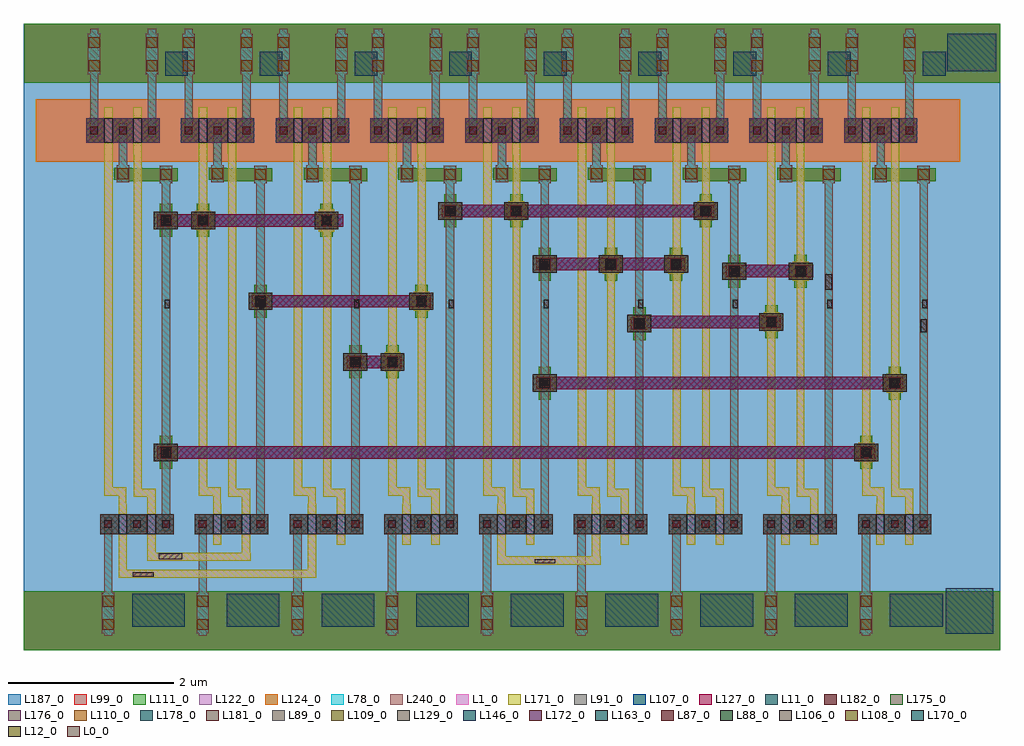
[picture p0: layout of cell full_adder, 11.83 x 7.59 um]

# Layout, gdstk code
import gdstk
lib = gdstk.Library(unit=1e-6, precision=1e-09)
def R(c, l, rs):  # rectangles x0, y0, x1, y1
    for r in rs: c.add(gdstk.rectangle(r[:2], r[2:], *l))
def A(c, l, x, y, w, h, nx, ny, dx, dy):  # array of equal rectangles
    R(c, l, [(x+i*dx, y+j*dy, x+i*dx+w, y+j*dy+h) for i in range(nx) for j in range(ny)])
def P(c, l, *ps):  # polygons
    for p in ps: c.add(gdstk.Polygon(p, *l))
L0_0 = (0, 0)
L1_0 = (1, 0)
L11_0 = (11, 0)
L12_0 = (12, 0)
L78_0 = (78, 0)
L87_0 = (87, 0)
L88_0 = (88, 0)
L89_0 = (89, 0)
L91_0 = (91, 0)
L99_0 = (99, 0)
L106_0 = (106, 0)
L107_0 = (107, 0)
L108_0 = (108, 0)
L109_0 = (109, 0)
L110_0 = (110, 0)
L111_0 = (111, 0)
L122_0 = (122, 0)
L124_0 = (124, 0)
L127_0 = (127, 0)
L129_0 = (129, 0)
L146_0 = (146, 0)
L163_0 = (163, 0)
L170_0 = (170, 0)
L171_0 = (171, 0)
L172_0 = (172, 0)
L175_0 = (175, 0)
L176_0 = (176, 0)
L178_0 = (178, 0)
L181_0 = (181, 0)
L182_0 = (182, 0)
L187_0 = (187, 0)
L240_0 = (240, 0)

nand2_2 = lib.new_cell('NAND2_2')
P(nand2_2, L1_0, [(-9.545,11.705),(-9.545,7.085),(-9.375,7.085),(-9.375,6.405),(-9.475,6.405),(-9.475,6.985),(-9.64,6.985),(-9.64,11.145),(-9.645,11.145),(-9.645,11.705)],
  [(-9.895,11.705),(-9.895,7.1),(-9.73,7.1),(-9.73,6.905),(-9.725,6.905),(-9.725,6.405),(-9.825,6.405),(-9.825,6.905),(-9.82,6.905),(-9.82,7),(-9.995,7),(-9.995,11.705)])
R(nand2_2, L11_0, [(-9.66,5.41,-9.02,5.81), (-9.26,12.09,-8.985,12.38)])
R(nand2_2, L12_0, [(-9.265,9.27,-9.205,9.375)])
R(nand2_2, L78_0, [(-9.68,6.565,-9.48,6.765)])
P(nand2_2, L78_0, [(-9.175,10.995),(-9.175,10.785),(-9.2,10.785),(-9.2,6.57),(-9.3,6.57),(-9.3,10.785),(-9.325,10.785),(-9.325,10.995)],
  [(-9.9,6.74),(-9.9,5.825),(-9.875,5.825),(-9.875,5.335),(-9.9,5.335),(-9.9,5.305),(-10,5.305),(-10,5.335),(-10.025,5.335),(-10.025,5.825),(-10,5.825),(-10,6.74)],
  [(-10.07,12.66),(-10.07,12.595),(-10.045,12.595),(-10.045,12.105),(-10.07,12.105),(-10.07,11.34),(-10.17,11.34),(-10.17,12.105),(-10.195,12.105),(-10.195,12.595),(-10.17,12.595),(-10.17,12.66)],
  [(-9.37,12.66),(-9.37,12.595),(-9.345,12.595),(-9.345,12.105),(-9.37,12.105),(-9.37,11.34),(-9.47,11.34),(-9.47,12.105),(-9.495,12.105),(-9.495,12.595),(-9.47,12.595),(-9.47,12.66)],
  [(-9.72,11.51),(-9.72,11.005),(-9.695,11.005),(-9.695,10.795),(-9.845,10.795),(-9.845,11.005),(-9.82,11.005),(-9.82,11.51)])
R(nand2_2, L99_0, [(-10.97,5.125,-8.33,5.845), (-10.965,12,-8.325,12.72)])
P(nand2_2, L99_0, [(-9.665,10.975),(-9.665,10.97),(-9.105,10.97),(-9.105,10.81),(-9.825,10.81),(-9.825,10.825),(-9.875,10.825),(-9.875,10.975)])
R(nand2_2, L110_0, [(-10.015,5.375,-9.885,5.505), (-10.015,5.655,-9.885,5.785), (-9.315,10.825,-9.185,10.955), (-9.835,10.835,-9.705,10.965), (-10.185,12.145,-10.055,12.275), (-9.485,12.145,-9.355,12.275), (-10.185,12.425,-10.055,12.555), (-9.485,12.425,-9.355,12.555)])
R(nand2_2, L111_0, [(-10.97,5.125,-8.33,5.845), (-10.965,12,-8.325,12.72)])
P(nand2_2, L111_0, [(-9.665,10.975),(-9.665,10.97),(-9.105,10.97),(-9.105,10.81),(-9.825,10.81),(-9.825,10.825),(-9.875,10.825),(-9.875,10.975)])
R(nand2_2, L122_0, [(-10.83,11.045,-8.805,11.805)])
R(nand2_2, L124_0, [(-10.83,11.045,-8.805,11.805)])
R(nand2_2, L146_0, [(-9.995,11.275,-9.895,11.575), (-9.645,11.275,-9.545,11.575)])
R(nand2_2, L163_0, [(-9.825,6.535,-9.725,6.775), (-9.475,6.535,-9.375,6.775)])
R(nand2_2, L171_0, [(-9.825,6.405,-9.725,6.535), (-9.475,6.405,-9.375,6.535), (-9.995,11.575,-9.895,11.705), (-9.645,11.575,-9.545,11.705)])
P(nand2_2, L171_0, [(-9.545,11.275),(-9.545,7.085),(-9.375,7.085),(-9.375,6.775),(-9.475,6.775),(-9.475,6.985),(-9.64,6.985),(-9.64,11.145),(-9.645,11.145),(-9.645,11.275)],
  [(-9.895,11.275),(-9.895,7.1),(-9.73,7.1),(-9.73,6.905),(-9.725,6.905),(-9.725,6.775),(-9.825,6.775),(-9.825,6.905),(-9.82,6.905),(-9.82,7),(-9.995,7),(-9.995,11.275)])
A(nand2_2, L172_0, -9.995, 6.61, 0.09, 0.09, 3, 1, 0.35, 0)
A(nand2_2, L172_0, -10.165, 11.38, 0.09, 0.09, 3, 1, 0.35, 0)
R(nand2_2, L175_0, [(-10.215,11.275,-9.995,11.575), (-9.895,11.275,-9.645,11.575), (-9.545,11.275,-9.325,11.575)])
R(nand2_2, L176_0, [(-10.215,11.275,-9.995,11.575), (-9.895,11.275,-9.645,11.575), (-9.545,11.275,-9.325,11.575)])
R(nand2_2, L178_0, [(-10.045,6.535,-9.825,6.775), (-9.725,6.535,-9.475,6.775), (-9.375,6.535,-9.155,6.775)])
R(nand2_2, L181_0, [(-10.045,6.535,-9.825,6.775), (-9.725,6.535,-9.475,6.775), (-9.375,6.535,-9.155,6.775)])
R(nand2_2, L182_0, [(-10.045,6.535,-9.825,6.775), (-9.725,6.535,-9.475,6.775), (-9.375,6.535,-9.155,6.775), (-10.215,11.275,-9.995,11.575), (-9.895,11.275,-9.645,11.575), (-9.545,11.275,-9.325,11.575)])
R(nand2_2, L187_0, [(-10.97,5.125,-8.325,12.72)])
R(nand2_2, L240_0, [(-9.68,6.565,-9.48,6.765)])
P(nand2_2, L240_0, [(-9.175,10.995),(-9.175,10.785),(-9.2,10.785),(-9.2,6.57),(-9.3,6.57),(-9.3,10.785),(-9.325,10.785),(-9.325,10.995)],
  [(-9.9,6.74),(-9.9,5.825),(-9.875,5.825),(-9.875,5.335),(-9.9,5.335),(-9.9,5.305),(-10,5.305),(-10,5.335),(-10.025,5.335),(-10.025,5.825),(-10,5.825),(-10,6.74)],
  [(-10.07,12.66),(-10.07,12.595),(-10.045,12.595),(-10.045,12.105),(-10.07,12.105),(-10.07,11.34),(-10.17,11.34),(-10.17,12.105),(-10.195,12.105),(-10.195,12.595),(-10.17,12.595),(-10.17,12.66)],
  [(-9.37,12.66),(-9.37,12.595),(-9.345,12.595),(-9.345,12.105),(-9.37,12.105),(-9.37,11.34),(-9.47,11.34),(-9.47,12.105),(-9.495,12.105),(-9.495,12.595),(-9.47,12.595),(-9.47,12.66)],
  [(-9.72,11.51),(-9.72,11.005),(-9.695,11.005),(-9.695,10.795),(-9.845,10.795),(-9.845,11.005),(-9.82,11.005),(-9.82,11.51)])

full_adder = lib.new_cell('full_adder')
R(full_adder, L0_0, [(3.08,20.535,3.335,20.585), (7.95,20.695,8.195,20.745), (3.39,20.745,3.675,20.82)])
P(full_adder, L1_0, [(6.275,25.555),(6.275,23.25),(6.32,23.25),(6.32,23.02),(6.275,23.02),(6.275,21.515),(6.175,21.515),(6.175,23.02),(6.13,23.02),(6.13,23.25),(6.175,23.25),(6.175,25.555)],
  [(4.025,24.965),(4.025,24.735),(3.98,24.735),(3.98,24.72),(3.88,24.72),(3.88,24.735),(3.835,24.735),(3.835,24.965)],
  [(5.52,24.985),(5.52,24.715),(5.475,24.715),(5.475,24.655),(5.38,24.655),(5.38,24.715),(5.33,24.715),(5.33,24.985)],
  [(7.82,25.08),(7.82,24.85),(7.775,24.85),(7.775,24.82),(7.68,24.82),(7.68,24.85),(7.63,24.85),(7.63,25.08)],
  [(10.115,25.08),(10.115,24.85),(10.07,24.85),(10.07,24.805),(9.975,24.805),(9.975,24.85),(9.925,24.85),(9.925,25.08)],
  [(6.625,24.015),(6.625,23.985),(6.67,23.985),(6.67,23.755),(6.625,23.755),(6.625,23.695),(6.53,23.695),(6.53,23.755),(6.48,23.755),(6.48,23.985),(6.53,23.985),(6.53,24.015)],
  [(8.92,24.495),(8.92,24.435),(8.965,24.435),(8.965,24.205),(8.92,24.205),(8.92,24.115),(8.825,24.115),(8.825,24.205),(8.775,24.205),(8.775,24.435),(8.825,24.435),(8.825,24.495)],
  [(12.365,23.055),(12.365,22.995),(12.405,22.995),(12.405,22.765),(12.215,22.765),(12.215,22.995),(12.27,22.995),(12.27,23.055)],
  [(9.72,24.515),(9.72,24.435),(9.755,24.435),(9.755,24.205),(9.72,24.205),(9.72,24.135),(9.62,24.135),(9.62,24.205),(9.565,24.205),(9.565,24.435),(9.62,24.435),(9.62,24.515)],
  [(10.865,23.75),(10.865,23.735),(10.91,23.735),(10.91,23.505),(10.865,23.505),(10.865,23.46),(10.765,23.46),(10.765,23.505),(10.72,23.505),(10.72,23.735),(10.765,23.735),(10.765,23.75)],
  [(12.015,22.16),(12.015,22.155),(12.06,22.155),(12.06,21.925),(11.87,21.925),(11.87,22.155),(11.915,22.155),(11.915,22.16)],
  [(4.5,20.94),(4.5,20.825),(4.505,20.825),(4.505,20.725),(3.255,20.725),(3.255,20.94),(3.355,20.94),(3.355,20.825),(4.4,20.825),(4.4,20.94)],
  [(3.005,21.33),(3.005,20.62),(5.2,20.62),(5.2,21),(5.3,21),(5.3,20.52),(2.905,20.52),(2.905,21.33)],
  [(8.74,21),(8.74,20.78),(8.745,20.78),(8.745,20.68),(7.495,20.68),(7.495,21),(7.595,21),(7.595,20.78),(8.64,20.78),(8.64,21)],
  [(11.215,24.39),(11.215,24.35),(11.265,24.35),(11.265,24.12),(11.215,24.12),(11.215,24.03),(11.125,24.03),(11.125,24.12),(11.075,24.12),(11.075,24.35),(11.125,24.35),(11.125,24.39)])
R(full_adder, L11_0, [(12.925,19.845,13.505,20.395), (12.945,26.655,13.54,27.11)])
R(full_adder, L12_0, [(12.625,23.495,12.7,23.65), (11.47,24.01,11.55,24.195)])
R(full_adder, L78_0, [(11.46,21.5,11.56,25.215), (12.61,21.5,12.71,25.215)])
P(full_adder, L78_0, [(3.53,25.215),(3.53,24.955),(3.555,24.955),(3.555,24.745),(3.53,24.745),(3.53,22.145),(3.555,22.145),(3.555,21.935),(3.53,21.935),(3.53,21.5),(3.43,21.5),(3.43,21.935),(3.405,21.935),(3.405,22.145),(3.43,22.145),(3.43,24.745),(3.405,24.745),(3.405,24.955),(3.43,24.955),(3.43,25.215)],
  [(4.675,25.215),(4.675,23.975),(4.7,23.975),(4.7,23.765),(4.675,23.765),(4.675,21.5),(4.575,21.5),(4.575,23.765),(4.55,23.765),(4.55,23.975),(4.575,23.975),(4.575,25.215)],
  [(5.825,25.215),(5.825,23.24),(5.85,23.24),(5.85,23.03),(5.825,23.03),(5.825,21.5),(5.725,21.5),(5.725,23.03),(5.7,23.03),(5.7,23.24),(5.725,23.24),(5.725,25.215)],
  [(6.97,25.215),(6.97,25.07),(7,25.07),(7,24.86),(6.97,24.86),(6.97,21.5),(6.87,21.5),(6.87,24.86),(6.85,24.86),(6.85,25.07),(6.87,25.07),(6.87,25.215)],
  [(8.12,25.215),(8.12,24.425),(8.145,24.425),(8.145,24.215),(8.12,24.215),(8.12,22.985),(8.145,22.985),(8.145,22.775),(8.12,22.775),(8.12,21.5),(8.02,21.5),(8.02,22.775),(7.995,22.775),(7.995,22.985),(8.02,22.985),(8.02,24.215),(7.995,24.215),(7.995,24.425),(8.02,24.425),(8.02,25.215)],
  [(10.415,25.215),(10.415,24.34),(10.44,24.34),(10.44,24.13),(10.415,24.13),(10.415,21.5),(10.315,21.5),(10.315,24.13),(10.29,24.13),(10.29,24.34),(10.315,24.34),(10.315,25.215)],
  [(9.265,23.765),(9.265,23.705),(9.29,23.705),(9.29,23.495),(9.265,23.495),(9.265,23.355),(9.165,23.355),(9.165,23.495),(9.14,23.495),(9.14,23.705),(9.165,23.705),(9.165,23.765)],
  [(10.115,25.07),(10.115,25.05),(10.14,25.05),(10.14,24.88),(10.115,24.88),(10.115,24.86),(9.925,24.86),(9.925,24.88),(9.9,24.88),(9.9,25.05),(9.925,25.05),(9.925,25.07)],
  [(11.265,24.34),(11.265,24.32),(11.29,24.32),(11.29,24.15),(11.265,24.15),(11.265,24.13),(11.075,24.13),(11.075,24.15),(11.05,24.15),(11.05,24.32),(11.075,24.32),(11.075,24.34)],
  [(12.06,22.145),(12.06,22.125),(12.085,22.125),(12.085,21.955),(12.06,21.955),(12.06,21.935),(11.87,21.935),(11.87,21.955),(11.845,21.955),(11.845,22.125),(11.87,22.125),(11.87,22.145)],
  [(10.91,23.725),(10.91,23.705),(10.935,23.705),(10.935,23.535),(10.91,23.535),(10.91,23.515),(10.72,23.515),(10.72,23.535),(10.695,23.535),(10.695,23.705),(10.72,23.705),(10.72,23.725)],
  [(9.755,24.425),(9.755,24.405),(9.78,24.405),(9.78,24.235),(9.755,24.235),(9.755,24.215),(9.565,24.215),(9.565,24.235),(9.54,24.235),(9.54,24.405),(9.565,24.405),(9.565,24.425)],
  [(12.405,22.985),(12.405,22.965),(12.43,22.965),(12.43,22.795),(12.405,22.795),(12.405,22.775),(12.215,22.775),(12.215,22.795),(12.19,22.795),(12.19,22.965),(12.215,22.965),(12.215,22.985)],
  [(8.965,24.425),(8.965,24.405),(8.99,24.405),(8.99,24.235),(8.965,24.235),(8.965,24.215),(8.775,24.215),(8.775,24.235),(8.75,24.235),(8.75,24.405),(8.775,24.405),(8.775,24.425)],
  [(6.32,23.24),(6.32,23.22),(6.345,23.22),(6.345,23.05),(6.32,23.05),(6.32,23.03),(6.13,23.03),(6.13,23.05),(6.105,23.05),(6.105,23.22),(6.13,23.22),(6.13,23.24)],
  [(6.67,23.975),(6.67,23.955),(6.695,23.955),(6.695,23.785),(6.67,23.785),(6.67,23.765),(6.48,23.765),(6.48,23.785),(6.455,23.785),(6.455,23.955),(6.48,23.955),(6.48,23.975)],
  [(7.82,25.07),(7.82,25.05),(7.845,25.05),(7.845,24.88),(7.82,24.88),(7.82,24.86),(7.63,24.86),(7.63,24.88),(7.605,24.88),(7.605,25.05),(7.63,25.05),(7.63,25.07)],
  [(4.025,24.955),(4.025,24.935),(4.05,24.935),(4.05,24.765),(4.025,24.765),(4.025,24.745),(3.835,24.745),(3.835,24.765),(3.81,24.765),(3.81,24.935),(3.835,24.935),(3.835,24.955)],
  [(5.52,24.955),(5.52,24.935),(5.545,24.935),(5.545,24.765),(5.52,24.765),(5.52,24.745),(5.33,24.745),(5.33,24.765),(5.305,24.765),(5.305,24.935),(5.33,24.935),(5.33,24.955)])
R(full_adder, L87_0, [(3.415,21.975,3.545,22.105), (11.9,21.975,12.03,22.105), (8.005,22.815,8.135,22.945), (12.245,22.815,12.375,22.945), (5.71,23.07,5.84,23.2), (6.16,23.07,6.29,23.2), (9.15,23.535,9.28,23.665), (10.75,23.555,10.88,23.685), (4.56,23.805,4.69,23.935), (6.51,23.805,6.64,23.935), (10.3,24.17,10.43,24.3), (11.105,24.17,11.235,24.3), (8.005,24.255,8.135,24.385), (8.805,24.255,8.935,24.385), (9.595,24.255,9.725,24.385), (3.415,24.785,3.545,24.915), (3.865,24.785,3.995,24.915), (5.36,24.785,5.49,24.915), (6.86,24.9,6.99,25.03), (7.66,24.9,7.79,25.03), (9.955,24.9,10.085,25.03)])
R(full_adder, L88_0, [(3.415,21.975,3.545,22.105), (11.9,21.975,12.03,22.105), (8.005,22.815,8.135,22.945), (12.245,22.815,12.375,22.945), (5.71,23.07,5.84,23.2), (6.16,23.07,6.29,23.2), (9.15,23.535,9.28,23.665), (10.75,23.555,10.88,23.685), (4.56,23.805,4.69,23.935), (6.51,23.805,6.64,23.935), (10.3,24.17,10.43,24.3), (11.105,24.17,11.235,24.3), (8.005,24.255,8.135,24.385), (8.805,24.255,8.935,24.385), (9.595,24.255,9.725,24.385), (3.415,24.785,3.545,24.915), (3.865,24.785,3.995,24.915), (5.36,24.785,5.49,24.915), (6.86,24.9,6.99,25.03), (7.66,24.9,7.79,25.03), (9.955,24.9,10.085,25.03)])
R(full_adder, L89_0, [(3.335,21.935,3.625,22.145), (11.82,21.935,12.11,22.145), (7.925,22.775,8.215,22.985), (12.165,22.775,12.455,22.985), (5.63,23.03,5.92,23.24), (6.08,23.03,6.37,23.24), (9.07,23.495,9.36,23.705), (10.67,23.515,10.96,23.725), (4.48,23.765,4.77,23.975), (6.43,23.765,6.72,23.975), (10.22,24.13,10.51,24.34), (11.025,24.13,11.315,24.34), (7.925,24.215,8.215,24.425), (8.725,24.215,9.015,24.425), (9.515,24.215,9.805,24.425), (3.335,24.745,3.625,24.955), (3.785,24.745,4.075,24.955), (5.28,24.745,5.57,24.955), (6.78,24.86,7.07,25.07), (7.58,24.86,7.87,25.07), (9.875,24.86,10.165,25.07)])
R(full_adder, L91_0, [(3.375,21.965,12.07,22.115), (7.965,22.805,12.415,22.955), (5.67,23.06,6.33,23.21), (4.52,23.795,6.68,23.945), (10.26,24.16,11.32,24.31), (7.965,24.245,9.765,24.395), (3.375,24.775,5.63,24.925), (6.82,24.89,10.125,25.04)])
P(full_adder, L91_0, [(10.92,23.695),(10.92,23.545),(9.32,23.545),(9.32,23.525),(9.11,23.525),(9.11,23.675),(9.165,23.675),(9.165,23.695)])
R(full_adder, L99_0, [(1.775,19.64,13.585,20.355), (3.405,21.84,3.555,22.24), (11.89,21.84,12.04,22.24), (7.995,22.68,8.145,23.08), (12.235,22.68,12.385,23.08), (5.7,22.935,5.85,23.335), (6.15,22.935,6.3,23.335), (9.14,23.4,9.29,23.8), (10.74,23.42,10.89,23.82), (4.55,23.67,4.7,24.07), (6.5,23.67,6.65,24.07), (10.29,24.035,10.44,24.435), (11.095,24.035,11.245,24.435), (7.995,24.12,8.145,24.52), (8.795,24.12,8.945,24.52), (9.585,24.12,9.735,24.52), (3.405,24.65,3.555,25.05), (3.855,24.65,4.005,25.05), (5.35,24.65,5.5,25.05), (6.85,24.765,7,25.165), (7.65,24.765,7.8,25.165), (9.945,24.765,10.095,25.165), (1.775,26.515,13.585,27.23)])
R(full_adder, L106_0, [(3.415,21.975,3.545,22.105), (11.9,21.975,12.03,22.105), (8.005,22.815,8.135,22.945), (12.245,22.815,12.375,22.945), (5.71,23.07,5.84,23.2), (6.16,23.07,6.29,23.2), (9.15,23.535,9.28,23.665), (10.75,23.555,10.88,23.685), (4.56,23.805,4.69,23.935), (6.51,23.805,6.64,23.935), (10.3,24.17,10.43,24.3), (11.105,24.17,11.235,24.3), (8.005,24.255,8.135,24.385), (8.805,24.255,8.935,24.385), (9.595,24.255,9.725,24.385), (3.415,24.785,3.545,24.915), (3.865,24.785,3.995,24.915), (5.36,24.785,5.49,24.915), (6.86,24.9,6.99,25.03), (7.66,24.9,7.79,25.03), (9.955,24.9,10.085,25.03)])
R(full_adder, L107_0, [(3.375,21.965,12.07,22.115), (7.965,22.805,12.415,22.955), (5.67,23.06,6.33,23.21), (4.52,23.795,6.68,23.945), (10.26,24.16,11.32,24.31), (7.965,24.245,9.765,24.395), (3.375,24.775,5.63,24.925), (6.82,24.89,10.125,25.04)])
P(full_adder, L107_0, [(10.92,23.695),(10.92,23.545),(9.32,23.545),(9.32,23.525),(9.11,23.525),(9.11,23.675),(9.165,23.675),(9.165,23.695)])
R(full_adder, L108_0, [(3.415,21.975,3.545,22.105), (11.9,21.975,12.03,22.105), (8.005,22.815,8.135,22.945), (12.245,22.815,12.375,22.945), (5.71,23.07,5.84,23.2), (6.16,23.07,6.29,23.2), (9.15,23.535,9.28,23.665), (10.75,23.555,10.88,23.685), (4.56,23.805,4.69,23.935), (6.51,23.805,6.64,23.935), (10.3,24.17,10.43,24.3), (11.105,24.17,11.235,24.3), (8.005,24.255,8.135,24.385), (8.805,24.255,8.935,24.385), (9.595,24.255,9.725,24.385), (3.415,24.785,3.545,24.915), (3.865,24.785,3.995,24.915), (5.36,24.785,5.49,24.915), (6.86,24.9,6.99,25.03), (7.66,24.9,7.79,25.03), (9.955,24.9,10.085,25.03)])
R(full_adder, L109_0, [(3.335,21.935,3.625,22.145), (11.82,21.935,12.11,22.145), (7.925,22.775,8.215,22.985), (12.165,22.775,12.455,22.985), (5.63,23.03,5.92,23.24), (6.08,23.03,6.37,23.24), (9.07,23.495,9.36,23.705), (10.67,23.515,10.96,23.725), (4.48,23.765,4.77,23.975), (6.43,23.765,6.72,23.975), (10.22,24.13,10.51,24.34), (11.025,24.13,11.315,24.34), (7.925,24.215,8.215,24.425), (8.725,24.215,9.015,24.425), (9.515,24.215,9.805,24.425), (3.335,24.745,3.625,24.955), (3.785,24.745,4.075,24.955), (5.28,24.745,5.57,24.955), (6.78,24.86,7.07,25.07), (7.58,24.86,7.87,25.07), (9.875,24.86,10.165,25.07)])
R(full_adder, L110_0, [(3.415,21.975,3.545,22.105), (11.9,21.975,12.03,22.105), (8.005,22.815,8.135,22.945), (12.245,22.815,12.375,22.945), (5.71,23.07,5.84,23.2), (6.16,23.07,6.29,23.2), (9.15,23.535,9.28,23.665), (10.75,23.555,10.88,23.685), (4.56,23.805,4.69,23.935), (6.51,23.805,6.64,23.935), (10.3,24.17,10.43,24.3), (11.105,24.17,11.235,24.3), (8.005,24.255,8.135,24.385), (8.805,24.255,8.935,24.385), (9.595,24.255,9.725,24.385), (3.415,24.785,3.545,24.915), (3.865,24.785,3.995,24.915), (5.36,24.785,5.49,24.915), (6.86,24.9,6.99,25.03), (7.66,24.9,7.79,25.03), (9.955,24.9,10.085,25.03)])
R(full_adder, L111_0, [(1.775,19.64,13.585,20.355), (3.405,21.84,3.555,22.24), (11.89,21.84,12.04,22.24), (7.995,22.68,8.145,23.08), (12.235,22.68,12.385,23.08), (5.7,22.935,5.85,23.335), (6.15,22.935,6.3,23.335), (9.14,23.4,9.29,23.8), (10.74,23.42,10.89,23.82), (4.55,23.67,4.7,24.07), (6.5,23.67,6.65,24.07), (10.29,24.035,10.44,24.435), (11.095,24.035,11.245,24.435), (7.995,24.12,8.145,24.52), (8.795,24.12,8.945,24.52), (9.585,24.12,9.735,24.52), (3.405,24.65,3.555,25.05), (3.855,24.65,4.005,25.05), (5.35,24.65,5.5,25.05), (6.85,24.765,7,25.165), (7.65,24.765,7.8,25.165), (9.945,24.765,10.095,25.165), (1.775,26.515,13.585,27.23)])
R(full_adder, L127_0, [(3.375,21.965,12.07,22.115), (7.965,22.805,12.415,22.955), (5.67,23.06,6.33,23.21), (4.52,23.795,6.68,23.945), (10.26,24.16,11.32,24.31), (7.965,24.245,9.765,24.395), (3.375,24.775,5.63,24.925), (6.82,24.89,10.125,25.04)])
P(full_adder, L127_0, [(10.92,23.695),(10.92,23.545),(9.32,23.545),(9.32,23.525),(9.11,23.525),(9.11,23.675),(9.165,23.675),(9.165,23.695)])
R(full_adder, L129_0, [(3.335,21.935,3.625,22.145), (11.82,21.935,12.11,22.145), (7.925,22.775,8.215,22.985), (12.165,22.775,12.455,22.985), (5.63,23.03,5.92,23.24), (6.08,23.03,6.37,23.24), (9.07,23.495,9.36,23.705), (10.67,23.515,10.96,23.725), (4.48,23.765,4.77,23.975), (6.43,23.765,6.72,23.975), (10.22,24.13,10.51,24.34), (11.025,24.13,11.315,24.34), (7.925,24.215,8.215,24.425), (8.725,24.215,9.015,24.425), (9.515,24.215,9.805,24.425), (3.335,24.745,3.625,24.955), (3.785,24.745,4.075,24.955), (5.28,24.745,5.57,24.955), (6.78,24.86,7.07,25.07), (7.58,24.86,7.87,25.07), (9.875,24.86,10.165,25.07)])
R(full_adder, L170_0, [(11.92,21.995,12.01,22.085), (12.265,22.835,12.355,22.925), (6.18,23.09,6.27,23.18), (10.77,23.575,10.86,23.665), (6.53,23.825,6.62,23.915), (11.125,24.19,11.215,24.28), (8.825,24.275,8.915,24.365), (9.615,24.275,9.705,24.365), (3.885,24.805,3.975,24.895), (5.38,24.805,5.47,24.895), (7.68,24.92,7.77,25.01), (9.975,24.92,10.065,25.01)])
R(full_adder, L171_0, [(2.905,21.29,3.005,21.33)])
P(full_adder, L171_0, [(6.275,25.555),(6.275,23.25),(6.32,23.25),(6.32,23.02),(6.275,23.02),(6.275,21.515),(6.175,21.515),(6.175,23.02),(6.13,23.02),(6.13,23.25),(6.175,23.25),(6.175,25.555)],
  [(4.025,24.965),(4.025,24.735),(3.98,24.735),(3.98,24.72),(3.88,24.72),(3.88,24.735),(3.835,24.735),(3.835,24.965)],
  [(5.52,24.985),(5.52,24.715),(5.475,24.715),(5.475,24.655),(5.38,24.655),(5.38,24.715),(5.33,24.715),(5.33,24.985)],
  [(7.82,25.08),(7.82,24.85),(7.775,24.85),(7.775,24.82),(7.68,24.82),(7.68,24.85),(7.63,24.85),(7.63,25.08)],
  [(10.115,25.08),(10.115,24.85),(10.07,24.85),(10.07,24.805),(9.975,24.805),(9.975,24.85),(9.925,24.85),(9.925,25.08)],
  [(6.625,24.015),(6.625,23.985),(6.67,23.985),(6.67,23.755),(6.625,23.755),(6.625,23.695),(6.53,23.695),(6.53,23.755),(6.48,23.755),(6.48,23.985),(6.53,23.985),(6.53,24.015)],
  [(8.92,24.495),(8.92,24.435),(8.965,24.435),(8.965,24.205),(8.92,24.205),(8.92,24.115),(8.825,24.115),(8.825,24.205),(8.775,24.205),(8.775,24.435),(8.825,24.435),(8.825,24.495)],
  [(12.365,23.055),(12.365,22.995),(12.405,22.995),(12.405,22.765),(12.215,22.765),(12.215,22.995),(12.27,22.995),(12.27,23.055)],
  [(9.72,24.515),(9.72,24.435),(9.755,24.435),(9.755,24.205),(9.72,24.205),(9.72,24.135),(9.62,24.135),(9.62,24.205),(9.565,24.205),(9.565,24.435),(9.62,24.435),(9.62,24.515)],
  [(10.865,23.75),(10.865,23.735),(10.91,23.735),(10.91,23.505),(10.865,23.505),(10.865,23.46),(10.765,23.46),(10.765,23.505),(10.72,23.505),(10.72,23.735),(10.765,23.735),(10.765,23.75)],
  [(12.015,22.16),(12.015,22.155),(12.06,22.155),(12.06,21.925),(11.87,21.925),(11.87,22.155),(11.915,22.155),(11.915,22.16)],
  [(4.5,20.94),(4.5,20.825),(4.505,20.825),(4.505,20.725),(3.255,20.725),(3.255,20.94),(3.355,20.94),(3.355,20.825),(4.4,20.825),(4.4,20.94)],
  [(3.005,21.05),(3.005,20.62),(5.2,20.62),(5.2,21),(5.3,21),(5.3,20.52),(2.905,20.52),(2.905,21.05)],
  [(8.74,21),(8.74,20.78),(8.745,20.78),(8.745,20.68),(7.495,20.68),(7.495,21),(7.595,21),(7.595,20.78),(8.64,20.78),(8.64,21)],
  [(11.215,24.39),(11.215,24.35),(11.265,24.35),(11.265,24.12),(11.215,24.12),(11.215,24.03),(11.125,24.03),(11.125,24.12),(11.075,24.12),(11.075,24.35),(11.125,24.35),(11.125,24.39)])
R(full_adder, L187_0, [(1.76,19.64,13.585,27.235)])
R(full_adder, L240_0, [(11.46,21.5,11.56,25.215), (12.61,21.5,12.71,25.215)])
P(full_adder, L240_0, [(3.53,25.215),(3.53,24.955),(3.555,24.955),(3.555,24.745),(3.53,24.745),(3.53,22.145),(3.555,22.145),(3.555,21.935),(3.53,21.935),(3.53,21.5),(3.43,21.5),(3.43,21.935),(3.405,21.935),(3.405,22.145),(3.43,22.145),(3.43,24.745),(3.405,24.745),(3.405,24.955),(3.43,24.955),(3.43,25.215)],
  [(4.675,25.215),(4.675,23.975),(4.7,23.975),(4.7,23.765),(4.675,23.765),(4.675,21.5),(4.575,21.5),(4.575,23.765),(4.55,23.765),(4.55,23.975),(4.575,23.975),(4.575,25.215)],
  [(5.825,25.215),(5.825,23.24),(5.85,23.24),(5.85,23.03),(5.825,23.03),(5.825,21.5),(5.725,21.5),(5.725,23.03),(5.7,23.03),(5.7,23.24),(5.725,23.24),(5.725,25.215)],
  [(6.97,25.215),(6.97,25.07),(7,25.07),(7,24.86),(6.97,24.86),(6.97,21.5),(6.87,21.5),(6.87,24.86),(6.85,24.86),(6.85,25.07),(6.87,25.07),(6.87,25.215)],
  [(8.12,25.215),(8.12,24.425),(8.145,24.425),(8.145,24.215),(8.12,24.215),(8.12,22.985),(8.145,22.985),(8.145,22.775),(8.12,22.775),(8.12,21.5),(8.02,21.5),(8.02,22.775),(7.995,22.775),(7.995,22.985),(8.02,22.985),(8.02,24.215),(7.995,24.215),(7.995,24.425),(8.02,24.425),(8.02,25.215)],
  [(10.415,25.215),(10.415,24.34),(10.44,24.34),(10.44,24.13),(10.415,24.13),(10.415,21.5),(10.315,21.5),(10.315,24.13),(10.29,24.13),(10.29,24.34),(10.315,24.34),(10.315,25.215)],
  [(9.265,23.765),(9.265,23.705),(9.29,23.705),(9.29,23.495),(9.265,23.495),(9.265,23.355),(9.165,23.355),(9.165,23.495),(9.14,23.495),(9.14,23.705),(9.165,23.705),(9.165,23.765)],
  [(10.115,25.07),(10.115,25.05),(10.14,25.05),(10.14,24.88),(10.115,24.88),(10.115,24.86),(9.925,24.86),(9.925,24.88),(9.9,24.88),(9.9,25.05),(9.925,25.05),(9.925,25.07)],
  [(11.265,24.34),(11.265,24.32),(11.29,24.32),(11.29,24.15),(11.265,24.15),(11.265,24.13),(11.075,24.13),(11.075,24.15),(11.05,24.15),(11.05,24.32),(11.075,24.32),(11.075,24.34)],
  [(12.06,22.145),(12.06,22.125),(12.085,22.125),(12.085,21.955),(12.06,21.955),(12.06,21.935),(11.87,21.935),(11.87,21.955),(11.845,21.955),(11.845,22.125),(11.87,22.125),(11.87,22.145)],
  [(10.91,23.725),(10.91,23.705),(10.935,23.705),(10.935,23.535),(10.91,23.535),(10.91,23.515),(10.72,23.515),(10.72,23.535),(10.695,23.535),(10.695,23.705),(10.72,23.705),(10.72,23.725)],
  [(9.755,24.425),(9.755,24.405),(9.78,24.405),(9.78,24.235),(9.755,24.235),(9.755,24.215),(9.565,24.215),(9.565,24.235),(9.54,24.235),(9.54,24.405),(9.565,24.405),(9.565,24.425)],
  [(12.405,22.985),(12.405,22.965),(12.43,22.965),(12.43,22.795),(12.405,22.795),(12.405,22.775),(12.215,22.775),(12.215,22.795),(12.19,22.795),(12.19,22.965),(12.215,22.965),(12.215,22.985)],
  [(8.965,24.425),(8.965,24.405),(8.99,24.405),(8.99,24.235),(8.965,24.235),(8.965,24.215),(8.775,24.215),(8.775,24.235),(8.75,24.235),(8.75,24.405),(8.775,24.405),(8.775,24.425)],
  [(6.32,23.24),(6.32,23.22),(6.345,23.22),(6.345,23.05),(6.32,23.05),(6.32,23.03),(6.13,23.03),(6.13,23.05),(6.105,23.05),(6.105,23.22),(6.13,23.22),(6.13,23.24)],
  [(6.67,23.975),(6.67,23.955),(6.695,23.955),(6.695,23.785),(6.67,23.785),(6.67,23.765),(6.48,23.765),(6.48,23.785),(6.455,23.785),(6.455,23.955),(6.48,23.955),(6.48,23.975)],
  [(7.82,25.07),(7.82,25.05),(7.845,25.05),(7.845,24.88),(7.82,24.88),(7.82,24.86),(7.63,24.86),(7.63,24.88),(7.605,24.88),(7.605,25.05),(7.63,25.05),(7.63,25.07)],
  [(4.025,24.955),(4.025,24.935),(4.05,24.935),(4.05,24.765),(4.025,24.765),(4.025,24.745),(3.835,24.745),(3.835,24.765),(3.81,24.765),(3.81,24.935),(3.835,24.935),(3.835,24.955)],
  [(5.52,24.955),(5.52,24.935),(5.545,24.935),(5.545,24.765),(5.52,24.765),(5.52,24.745),(5.33,24.745),(5.33,24.765),(5.305,24.765),(5.305,24.935),(5.33,24.935),(5.33,24.955)])
full_adder.add(gdstk.Reference(nand2_2, (12.73,14.515)))
full_adder.add(gdstk.Reference(nand2_2, (13.875,14.515)))
full_adder.add(gdstk.Reference(nand2_2, (16.17,14.515)))
full_adder.add(gdstk.Reference(nand2_2, (15.025,14.515)))
full_adder.add(gdstk.Reference(nand2_2, (19.615,14.515)))
full_adder.add(gdstk.Reference(nand2_2, (20.76,14.515)))
full_adder.add(gdstk.Reference(nand2_2, (18.465,14.515)))
full_adder.add(gdstk.Reference(nand2_2, (17.32,14.515)))
full_adder.add(gdstk.Reference(nand2_2, (21.91,14.515)))

lib.write_gds('full_adder.gds')
